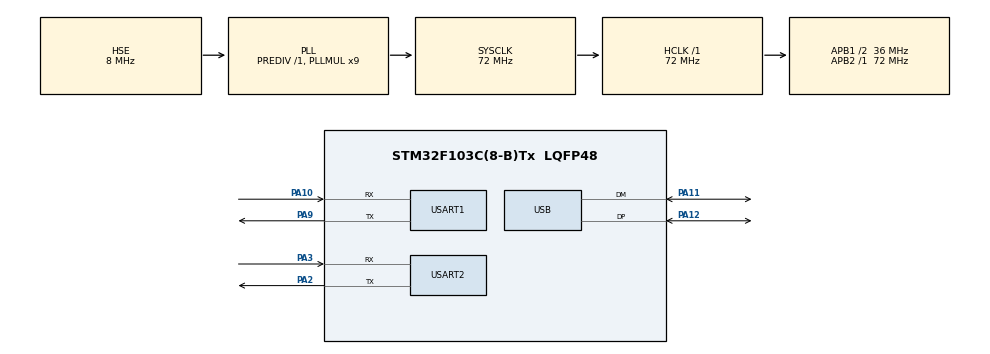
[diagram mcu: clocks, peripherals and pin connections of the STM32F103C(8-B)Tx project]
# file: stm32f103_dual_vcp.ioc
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Dma.MEMTOMEM.4.Direction=DMA_MEMORY_TO_MEMORY
Dma.MEMTOMEM.4.Instance=DMA1_Channel1
Dma.MEMTOMEM.4.MemDataAlignment=DMA_MDATAALIGN_BYTE
Dma.MEMTOMEM.4.MemInc=DMA_MINC_ENABLE
Dma.MEMTOMEM.4.Mode=DMA_NORMAL
Dma.MEMTOMEM.4.PeriphDataAlignment=DMA_PDATAALIGN_BYTE
Dma.MEMTOMEM.4.PeriphInc=DMA_PINC_ENABLE
Dma.MEMTOMEM.4.Priority=DMA_PRIORITY_HIGH
Dma.Request0=USART2_RX
Dma.Request1=USART2_TX
Dma.Request2=USART1_RX
Dma.Request3=USART1_TX
Dma.Request4=MEMTOMEM
Dma.USART1_RX.2.Direction=DMA_PERIPH_TO_MEMORY
Dma.USART1_RX.2.Instance=DMA1_Channel5
Dma.USART1_RX.2.MemDataAlignment=DMA_MDATAALIGN_BYTE
Dma.USART1_RX.2.MemInc=DMA_MINC_ENABLE
Dma.USART1_RX.2.Mode=DMA_CIRCULAR
Dma.USART1_RX.2.PeriphDataAlignment=DMA_PDATAALIGN_BYTE
Dma.USART1_RX.2.PeriphInc=DMA_PINC_DISABLE
Dma.USART1_RX.2.Priority=DMA_PRIORITY_HIGH
Dma.USART1_TX.3.Direction=DMA_MEMORY_TO_PERIPH
Dma.USART1_TX.3.Instance=DMA1_Channel4
Dma.USART1_TX.3.MemDataAlignment=DMA_MDATAALIGN_BYTE
Dma.USART1_TX.3.MemInc=DMA_MINC_ENABLE
Dma.USART1_TX.3.Mode=DMA_NORMAL
Dma.USART1_TX.3.PeriphDataAlignment=DMA_PDATAALIGN_BYTE
Dma.USART1_TX.3.PeriphInc=DMA_PINC_DISABLE
Dma.USART1_TX.3.Priority=DMA_PRIORITY_LOW
Dma.USART2_RX.0.Direction=DMA_PERIPH_TO_MEMORY
Dma.USART2_RX.0.Instance=DMA1_Channel6
Dma.USART2_RX.0.MemDataAlignment=DMA_MDATAALIGN_BYTE
Dma.USART2_RX.0.MemInc=DMA_MINC_ENABLE
Dma.USART2_RX.0.Mode=DMA_CIRCULAR
Dma.USART2_RX.0.PeriphDataAlignment=DMA_PDATAALIGN_BYTE
Dma.USART2_RX.0.PeriphInc=DMA_PINC_DISABLE
Dma.USART2_RX.0.Priority=DMA_PRIORITY_HIGH
Dma.USART2_TX.1.Direction=DMA_MEMORY_TO_PERIPH
Dma.USART2_TX.1.Instance=DMA1_Channel7
Dma.USART2_TX.1.MemDataAlignment=DMA_MDATAALIGN_BYTE
Dma.USART2_TX.1.MemInc=DMA_MINC_ENABLE
Dma.USART2_TX.1.Mode=DMA_NORMAL
Dma.USART2_TX.1.PeriphDataAlignment=DMA_PDATAALIGN_BYTE
Dma.USART2_TX.1.PeriphInc=DMA_PINC_DISABLE
Dma.USART2_TX.1.Priority=DMA_PRIORITY_LOW
Mcu.Family=STM32F1
Mcu.Name=STM32F103C(8-B)Tx
Mcu.Package=LQFP48
NVIC.DMA1_Channel4_IRQn=true\:0\:0\:false\:false\:true\:false
NVIC.DMA1_Channel5_IRQn=true\:0\:0\:false\:false\:true\:false
NVIC.DMA1_Channel6_IRQn=true\:1\:0\:true\:false\:true\:false
NVIC.DMA1_Channel7_IRQn=true\:1\:0\:true\:false\:true\:false
NVIC.PriorityGroup=NVIC_PRIORITYGROUP_2
NVIC.USART1_IRQn=true\:0\:0\:false\:false\:true\:true
NVIC.USART2_IRQn=true\:0\:0\:true\:false\:true\:true
NVIC.USB_LP_CAN1_RX0_IRQn=true\:0\:0\:false\:false\:true\:false
PA10.Mode=Asynchronous
PA10.Signal=USART1_RX
PA11.Mode=Device
PA11.Signal=USB_DM
PA12.Mode=Device
PA12.Signal=USB_DP
PA13.Mode=Serial_Wire
PA13.Signal=SYS_JTMS-SWDIO
PA14.Mode=Serial_Wire
PA14.Signal=SYS_JTCK-SWCLK
PA2.Mode=Asynchronous
PA2.Signal=USART2_TX
PA3.Mode=Asynchronous
PA3.Signal=USART2_RX
PA9.Mode=Asynchronous
PA9.Signal=USART1_TX
PC14-OSC32_IN.Mode=LSE-External-Oscillator
PC14-OSC32_IN.Signal=RCC_OSC32_IN
PC15-OSC32_OUT.Mode=LSE-External-Oscillator
PC15-OSC32_OUT.Signal=RCC_OSC32_OUT
PD0-OSC_IN.Mode=HSE-External-Oscillator
PD0-OSC_IN.Signal=RCC_OSC_IN
PD1-OSC_OUT.Mode=HSE-External-Oscillator
PD1-OSC_OUT.Signal=RCC_OSC_OUT
ProjectManager.HeapSize=0x800
ProjectManager.StackSize=0x800
ProjectManager.TargetToolchain=MDK-ARM V5
RCC.AHBFreq_Value=72000000
RCC.APB1CLKDivider=RCC_HCLK_DIV2
RCC.APB1Freq_Value=36000000
RCC.APB1TimFreq_Value=72000000
RCC.APB2Freq_Value=72000000
RCC.APB2TimFreq_Value=72000000
RCC.HCLKFreq_Value=72000000
RCC.PLLMUL=RCC_PLL_MUL9
RCC.RTCClockSelection=RCC_RTCCLKSOURCE_LSE
RCC.SYSCLKFreq_VALUE=72000000
RCC.SYSCLKSource=RCC_SYSCLKSOURCE_PLLCLK
RCC.USBFreq_Value=48000000
RCC.USBPrescaler=RCC_USBCLKSOURCE_PLL_DIV1_5
USART1.VirtualMode=VM_ASYNC
USART2.VirtualMode=VM_ASYNC
USB_DEVICE.APP_RX_DATA_SIZE=512
USB_DEVICE.APP_TX_DATA_SIZE=512
USB_DEVICE.CLASS_NAME_FS=CDC
USB_DEVICE.MANUFACTURER_STRING=Dev.Idv
USB_DEVICE.PID_CDC_FS=3001
USB_DEVICE.PRODUCT_STRING_CDC_FS=DualPort
USB_DEVICE.USBD_MAX_NUM_INTERFACES=2
USB_DEVICE.VID=0x3483
USB_DEVICE.VirtualMode=Cdc
USB_DEVICE.VirtualModeFS=Cdc_FS
VP_RTC_VS_RTC_Activate.Mode=RTC_Enabled
VP_USB_DEVICE_VS_USB_DEVICE_CDC_FS.Mode=CDC_FS
board=custom

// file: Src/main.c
/**
  ******************************************************************************
  * @file           : main.c
  * @brief          : Main program body
  ******************************************************************************
  * This notice applies to any and all portions of this file
  * that are not between comment pairs USER CODE BEGIN and
  * USER CODE END. Other portions of this file, whether
  * inserted by the user or by software development tools
  * are owned by their respective copyright owners.
  *
  * Copyright (c) 2018 STMicroelectronics International N.V.
  * All rights reserved.
  *
  * Redistribution and use in source and binary forms, with or without
  * modification, are permitted, provided that the following conditions are met:
  *
  * 1. Redistribution of source code must retain the above copyright notice,
  *    this list of conditions and the following disclaimer.
  * 2. Redistributions in binary form must reproduce the above copyright notice,
  *    this list of conditions and the following disclaimer in the documentation
  *    and/or other materials provided with the distribution.
  * 3. Neither the name of STMicroelectronics nor the names of other
  *    contributors to this software may be used to endorse or promote products
  *    derived from this software without specific written permission.
  * 4. This software, including modifications and/or derivative works of this
  *    software, must execute solely and exclusively on microcontroller or
  *    microprocessor devices manufactured by or for STMicroelectronics.
  * 5. Redistribution and use of this software other than as permitted under
  *    this license is void and will automatically terminate your rights under
  *    this license.
  *
  * THIS SOFTWARE IS PROVIDED BY STMICROELECTRONICS AND CONTRIBUTORS "AS IS"
  * AND ANY EXPRESS, IMPLIED OR STATUTORY WARRANTIES, INCLUDING, BUT NOT
  * LIMITED TO, THE IMPLIED WARRANTIES OF MERCHANTABILITY, FITNESS FOR A
  * PARTICULAR PURPOSE AND NON-INFRINGEMENT OF THIRD PARTY INTELLECTUAL PROPERTY
  * RIGHTS ARE DISCLAIMED TO THE FULLEST EXTENT PERMITTED BY LAW. IN NO EVENT
  * SHALL STMICROELECTRONICS OR CONTRIBUTORS BE LIABLE FOR ANY DIRECT, INDIRECT,
  * INCIDENTAL, SPECIAL, EXEMPLARY, OR CONSEQUENTIAL DAMAGES (INCLUDING, BUT NOT
  * LIMITED TO, PROCUREMENT OF SUBSTITUTE GOODS OR SERVICES; LOSS OF USE, DATA,
  * OR PROFITS; OR BUSINESS INTERRUPTION) HOWEVER CAUSED AND ON ANY THEORY OF
  * LIABILITY, WHETHER IN CONTRACT, STRICT LIABILITY, OR TORT (INCLUDING
  * NEGLIGENCE OR OTHERWISE) ARISING IN ANY WAY OUT OF THE USE OF THIS SOFTWARE,
  * EVEN IF ADVISED OF THE POSSIBILITY OF SUCH DAMAGE.
  *
  ******************************************************************************
  */
#include "main.h"
#include "stm32f1xx_hal.h"
#include "usb_device.h"

/* USER CODE BEGIN Includes */
#include "usbd_cdc_if.h"
#include "SEGGER_RTT.h"
/* USER CODE END Includes */

RTC_HandleTypeDef hrtc;

UART_HandleTypeDef huart1;
UART_HandleTypeDef huart2;
DMA_HandleTypeDef hdma_usart1_rx;
DMA_HandleTypeDef hdma_usart1_tx;
DMA_HandleTypeDef hdma_usart2_rx;
DMA_HandleTypeDef hdma_usart2_tx;

DMA_HandleTypeDef hdma_memtomem_dma1_channel1;

/* USER CODE BEGIN PV */
/* Private variables ---------------------------------------------------------*/

/* USER CODE END PV */

void SystemClock_Config(void);
static void MX_GPIO_Init(void);
static void MX_DMA_Init(void);
static void MX_RTC_Init(void);
static void MX_USART2_UART_Init(void);
static void MX_USART1_UART_Init(void);

/* USER CODE BEGIN PFP */
/* Private function prototypes -----------------------------------------------*/

/* USER CODE END PFP */

/* USER CODE BEGIN 0 */
ctx_t ctx;

/* USER CODE END 0 */

int main(void)
{
  /* USER CODE BEGIN 1 */
  int i;
  uart_ctx_t * uart_ctx;
  memset(&ctx, 0, sizeof(ctx_t));
  ctx.uart1.name = "UART1";
  ctx.uart1.huart = &huart1;
  ctx.uart1.hdma_rx = &hdma_usart1_rx;
  ctx.uart1.hdma_tx = &hdma_usart1_tx;
  ctx.uart1.irq_num = USART1_IRQn;
  ctx.uart2.name = "UART2";
  ctx.uart2.huart = &huart2;
  ctx.uart2.hdma_rx = &hdma_usart2_rx;
  ctx.uart2.hdma_tx = &hdma_usart2_tx;
  ctx.uart2.irq_num = USART2_IRQn;
  ctx.memcpy_dma = &hdma_memtomem_dma1_channel1;
  /* USER CODE END 1 */

  /* MCU Configuration----------------------------------------------------------*/

  /* Reset of all peripherals, Initializes the Flash interface and the Systick. */
  HAL_Init();

  /* Configure the system clock */
  SystemClock_Config();

  /* Initialize all configured peripherals */
  MX_GPIO_Init();
  MX_DMA_Init();
  MX_RTC_Init();
  MX_USART2_UART_Init();
  MX_USB_DEVICE_Init();
  MX_USART1_UART_Init();
  /* USER CODE BEGIN 2 */
  HAL_NVIC_SetPriorityGrouping(NVIC_PRIORITYGROUP_2);
  HAL_NVIC_SetPriority(USB_HP_CAN1_TX_IRQn  , 0, 2);
  HAL_NVIC_SetPriority(USB_LP_CAN1_RX0_IRQn , 0, 3);
  HAL_NVIC_SetPriority(USART1_IRQn          , 0, 1);
  HAL_NVIC_SetPriority(USART2_IRQn          , 0, 1);
  HAL_NVIC_SetPriority(DMA1_Channel1_IRQn   , 0, 2); // DMA for memory copy.
  HAL_NVIC_SetPriority(DMA1_Channel4_IRQn   , 1, 1); // UART1 Tx
  HAL_NVIC_SetPriority(DMA1_Channel5_IRQn   , 1, 0); // UART1 Rx
  HAL_NVIC_SetPriority(DMA1_Channel6_IRQn   , 1, 1); // UART2 Tx
  HAL_NVIC_SetPriority(DMA1_Channel7_IRQn   , 1, 0); // UART2 Rx

  __HAL_UART_DISABLE(&huart1);
  __HAL_UART_DISABLE(&huart2);
  /* USER CODE END 2 */

  /* Infinite loop */
  /* USER CODE BEGIN WHILE */
  while (1) {
    // __wfe();
  /* USER CODE END WHILE */

  /* USER CODE BEGIN 3 */
    for (i = 0; i < 2; i++) {
      uart_ctx = (i == 0) ? &ctx.uart1 : &ctx.uart2;
      if (uart_ctx->buf_idx != uart_ctx->buf.idx) {
        int buf_idx = uart_ctx->buf_idx;
        while (CDC_Transmit_FS((uint8_t *)uart_ctx->buf.data[buf_idx], uart_ctx->buf.len[buf_idx], 2 * i) == USBD_BUSY) {
          /* Until data out. */
        }
        uart_ctx->buf_idx = buf_idx ? 0 : 1;
        // SEGGER_RTT_printf(0, "mloop: buf=%d\n", buf_idx);
      }

      if (uart_ctx->buf.rest_len > 0) {
        int tx_len = uart_ctx->buf.rest_len;
        uart_ctx->buf.rest_len = 0;
        uart_ctx->buf_idx = 0;
        while (CDC_Transmit_FS((uint8_t *)uart_ctx->buf.data_rest, tx_len, 2 * i) == USBD_BUSY) {
          /* Until data out. */
        }
        // SEGGER_RTT_printf(0, "rest: len=%d\n", tx_len);
      }
    }
  }
  /* USER CODE END 3 */

}

void SystemClock_Config(void)
{

  RCC_OscInitTypeDef RCC_OscInitStruct;
  RCC_ClkInitTypeDef RCC_ClkInitStruct;
  RCC_PeriphCLKInitTypeDef PeriphClkInit;

    /**Initializes the CPU, AHB and APB busses clocks
    */
  RCC_OscInitStruct.OscillatorType = RCC_OSCILLATORTYPE_HSE|RCC_OSCILLATORTYPE_LSE;
  RCC_OscInitStruct.HSEState = RCC_HSE_ON;
  RCC_OscInitStruct.HSEPredivValue = RCC_HSE_PREDIV_DIV1;
  RCC_OscInitStruct.LSEState = RCC_LSE_ON;
  RCC_OscInitStruct.HSIState = RCC_HSI_ON;
  RCC_OscInitStruct.PLL.PLLState = RCC_PLL_ON;
  RCC_OscInitStruct.PLL.PLLSource = RCC_PLLSOURCE_HSE;
  RCC_OscInitStruct.PLL.PLLMUL = RCC_PLL_MUL9;
  if (HAL_RCC_OscConfig(&RCC_OscInitStruct) != HAL_OK)
  {
    _Error_Handler(__FILE__, __LINE__);
  }

    /**Initializes the CPU, AHB and APB busses clocks
    */
  RCC_ClkInitStruct.ClockType = RCC_CLOCKTYPE_HCLK|RCC_CLOCKTYPE_SYSCLK
                              |RCC_CLOCKTYPE_PCLK1|RCC_CLOCKTYPE_PCLK2;
  RCC_ClkInitStruct.SYSCLKSource = RCC_SYSCLKSOURCE_PLLCLK;
  RCC_ClkInitStruct.AHBCLKDivider = RCC_SYSCLK_DIV1;
  RCC_ClkInitStruct.APB1CLKDivider = RCC_HCLK_DIV2;
  RCC_ClkInitStruct.APB2CLKDivider = RCC_HCLK_DIV1;

  if (HAL_RCC_ClockConfig(&RCC_ClkInitStruct, FLASH_LATENCY_2) != HAL_OK)
  {
    _Error_Handler(__FILE__, __LINE__);
  }

  PeriphClkInit.PeriphClockSelection = RCC_PERIPHCLK_RTC|RCC_PERIPHCLK_USB;
  PeriphClkInit.RTCClockSelection = RCC_RTCCLKSOURCE_LSE;
  PeriphClkInit.UsbClockSelection = RCC_USBCLKSOURCE_PLL_DIV1_5;
  if (HAL_RCCEx_PeriphCLKConfig(&PeriphClkInit) != HAL_OK)
  {
    _Error_Handler(__FILE__, __LINE__);
  }

    /**Configure the Systick interrupt time
    */
  HAL_SYSTICK_Config(HAL_RCC_GetHCLKFreq()/1000);

    /**Configure the Systick
    */
  HAL_SYSTICK_CLKSourceConfig(SYSTICK_CLKSOURCE_HCLK);

  /* SysTick_IRQn interrupt configuration */
  HAL_NVIC_SetPriority(SysTick_IRQn, 0, 0);
}

/* RTC init function */
static void MX_RTC_Init(void)
{

    /**Initialize RTC Only
    */
  hrtc.Instance = RTC;
  hrtc.Init.AsynchPrediv = RTC_AUTO_1_SECOND;
  hrtc.Init.OutPut = RTC_OUTPUTSOURCE_ALARM;
  if (HAL_RTC_Init(&hrtc) != HAL_OK)
  {
    _Error_Handler(__FILE__, __LINE__);
  }

}

/* USART1 init function */
static void MX_USART1_UART_Init(void)
{

  huart1.Instance = USART1;
  huart1.Init.BaudRate = 115200;
  huart1.Init.WordLength = UART_WORDLENGTH_8B;
  huart1.Init.StopBits = UART_STOPBITS_1;
  huart1.Init.Parity = UART_PARITY_NONE;
  huart1.Init.Mode = UART_MODE_TX_RX;
  huart1.Init.HwFlowCtl = UART_HWCONTROL_NONE;
  huart1.Init.OverSampling = UART_OVERSAMPLING_16;
  if (HAL_UART_Init(&huart1) != HAL_OK)
  {
    _Error_Handler(__FILE__, __LINE__);
  }

}

/* USART2 init function */
static void MX_USART2_UART_Init(void)
{

  huart2.Instance = USART2;
  huart2.Init.BaudRate = 115200;
  huart2.Init.WordLength = UART_WORDLENGTH_8B;
  huart2.Init.StopBits = UART_STOPBITS_1;
  huart2.Init.Parity = UART_PARITY_NONE;
  huart2.Init.Mode = UART_MODE_TX_RX;
  huart2.Init.HwFlowCtl = UART_HWCONTROL_NONE;
  huart2.Init.OverSampling = UART_OVERSAMPLING_16;
  if (HAL_UART_Init(&huart2) != HAL_OK)
  {
    _Error_Handler(__FILE__, __LINE__);
  }

}

static void MX_DMA_Init(void)
{
  /* DMA controller clock enable */
  __HAL_RCC_DMA1_CLK_ENABLE();

  /* Configure DMA request hdma_memtomem_dma1_channel1 on DMA1_Channel1 */
  hdma_memtomem_dma1_channel1.Instance = DMA1_Channel1;
  hdma_memtomem_dma1_channel1.Init.Direction = DMA_MEMORY_TO_MEMORY;
  hdma_memtomem_dma1_channel1.Init.PeriphInc = DMA_PINC_ENABLE;
  hdma_memtomem_dma1_channel1.Init.MemInc = DMA_MINC_ENABLE;
  hdma_memtomem_dma1_channel1.Init.PeriphDataAlignment = DMA_PDATAALIGN_BYTE;
  hdma_memtomem_dma1_channel1.Init.MemDataAlignment = DMA_MDATAALIGN_BYTE;
  hdma_memtomem_dma1_channel1.Init.Mode = DMA_NORMAL;
  hdma_memtomem_dma1_channel1.Init.Priority = DMA_PRIORITY_MEDIUM;
  if (HAL_DMA_Init(&hdma_memtomem_dma1_channel1) != HAL_OK)
  {
    _Error_Handler(__FILE__, __LINE__);
  }

  /* DMA interrupt init */
  /* DMA1_Channel4_IRQn interrupt configuration */
  HAL_NVIC_SetPriority(DMA1_Channel4_IRQn, 0, 0);
  HAL_NVIC_EnableIRQ(DMA1_Channel4_IRQn);
  /* DMA1_Channel5_IRQn interrupt configuration */
  HAL_NVIC_SetPriority(DMA1_Channel5_IRQn, 0, 0);
  HAL_NVIC_EnableIRQ(DMA1_Channel5_IRQn);
  /* DMA1_Channel6_IRQn interrupt configuration */
  HAL_NVIC_SetPriority(DMA1_Channel6_IRQn, 1, 0);
  HAL_NVIC_EnableIRQ(DMA1_Channel6_IRQn);
  /* DMA1_Channel7_IRQn interrupt configuration */
  HAL_NVIC_SetPriority(DMA1_Channel7_IRQn, 1, 0);
  HAL_NVIC_EnableIRQ(DMA1_Channel7_IRQn);

}

/** Configure pins as
        * Analog
        * Input
        * Output
        * EVENT_OUT
        * EXTI
*/
static void MX_GPIO_Init(void)
{

  /* GPIO Ports Clock Enable */
  __HAL_RCC_GPIOC_CLK_ENABLE();
  __HAL_RCC_GPIOD_CLK_ENABLE();
  __HAL_RCC_GPIOA_CLK_ENABLE();

}

/* USER CODE BEGIN 4 */

void HAL_UART_RxHalfCpltCallback(UART_HandleTypeDef *huart)
{
  uart_ctx_t * const uart_ctx = (huart == &huart1) ? &ctx.uart1 : &ctx.uart2;
  // const int usb_idx = (huart == &huart2) ? 0 : 2;

  if (uart_ctx->buf.idx != 0) {
    uart_ctx->buf.idx = 0;
  }

  if (uart_ctx->buf_idx == 1) {
    // SEGGER_RTT_printf(0, "rxhalf: %s; [X]\n", uart_ctx->name);
    return;
  }

  // In Rx Half callback, the length of received data is half length of double buffer.
  uart_ctx->buf.len[0] = DBL_BUF_LEN;
  // Set index of double buffer to next.
  uart_ctx->buf.idx = 1;
  // SEGGER_RTT_printf(0, "rxhalf: %s; \n", uart_ctx->name);
}

void HAL_UART_RxCpltCallback(UART_HandleTypeDef *huart)
{
  uart_ctx_t * const uart_ctx = (huart == &huart1) ? &ctx.uart1 : &ctx.uart2;
  // const int usb_idx = (huart == &huart2) ? 0 : 2;

  if (uart_ctx->buf.idx != 1) {
    uart_ctx->buf.idx = 1;
  }
  if (uart_ctx->buf_idx == 0) {
    // SEGGER_RTT_printf(0, "rxcmpl: %s; [X]\n", uart_ctx->name);
    return;
  }

  // In Rx callback, the length of received data is half length of double buffer.
  uart_ctx->buf.len[1] = DBL_BUF_LEN;
  // Set index of double buffer to next.
  uart_ctx->buf.idx = 0;
  // SEGGER_RTT_printf(0, "rxcmpl: %s; \n", uart_ctx->name);
}

void HAL_UART_ErrorCallback(UART_HandleTypeDef *huart)
{
  uart_ctx_t * const uart_ctx = (huart == &huart1) ? &ctx.uart1 : &ctx.uart2;

  HAL_UART_DMAStop(huart);
  HAL_UART_Receive_DMA(huart, (uint8_t *)uart_ctx->buf.data[0], DBL_BUF_TOTAL_LEN);
}

/* USER CODE END 4 */

void _Error_Handler(char *file, int line)
{
  /* USER CODE BEGIN Error_Handler_Debug */
  /* User can add his own implementation to report the HAL error return state */
  while(1)
  {
    SEGGER_RTT_printf(0, "_Error_Handler: %s #%d\n", file, line);
    HAL_Delay(1000);
  }
  /* USER CODE END Error_Handler_Debug */
}

/************************ (C) COPYRIGHT STMicroelectronics *****END OF FILE****/
